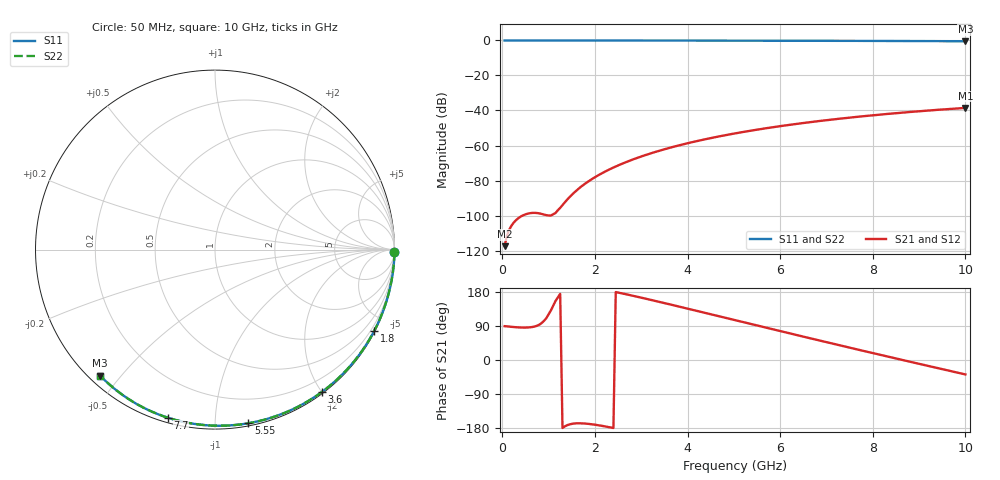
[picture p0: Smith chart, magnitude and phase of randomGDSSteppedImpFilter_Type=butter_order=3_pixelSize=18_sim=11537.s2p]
! freq	dB(S11)	phase(S11)	dB(S12)	phase(S12)
!  dB(S21)	phase(S21)	dB(S22)	phase(S22)
!S-par simulation data
#  GHz  S  DB  R 50
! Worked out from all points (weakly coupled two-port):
!   200 points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, 50 MHz to 10 GHz, reference 50 ohm
!   highest |S21| = -38.52 dB at 10 GHz (marker M1); lowest = -117.5 dB at 50 MHz (marker M2)
!   lowest |S11| = -0.4 dB at 10 GHz (marker M3), VSWR 38.88, Z = 1.54 - j22.1 ohm
!   |S11| at or under -10 dB: nowhere
!   |S22| runs from -0.4 to 0.0 dB; largest |S21 - S12| = 0
!   S11 on the Smith chart (normalised r, x): 50 MHz: open; 1.8 GHz: 0.04, -4.15; 3.6 GHz: 0.02, -2.01; 5.55 GHz: 0.02, -1.21; 7.7 GHz: 0.02, -0.76; 10 GHz: 0.03, -0.44
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0.05  -0.00 -0.8  -117.48 89.3  -117.48 89.3  -0.00 -0.8
0.45  -0.01 -6.9  -99.85 85.5  -99.85 85.5  -0.01 -6.9
0.9  -0.02 -13.7  -99.44 103.3  -99.44 103.3  -0.02 -13.7
1.75  -0.03 -26.4  -82.53 -167.4  -82.53 -167.4  -0.03 -26.4
1.8  -0.03 -27.1  -81.56 -167.8  -81.56 -167.8  -0.03 -27.1
1.9  -0.04 -28.6  -79.77 -169.1  -79.77 -169.1  -0.04 -28.6
2.05  -0.04 -30.8  -77.33 -171.7  -77.33 -171.7  -0.04 -30.8
2.25  -0.04 -33.7  -74.48 -175.9  -74.48 -175.9  -0.04 -33.7
2.45  -0.05 -36.6  -71.96 179.3  -71.96 179.3  -0.05 -36.6
2.65  -0.05 -39.5  -69.71 174.1  -69.71 174.1  -0.05 -39.5
3  -0.06 -44.5  -66.27 164.5  -66.27 164.5  -0.06 -44.5
3.4  -0.07 -50.2  -62.91 153.1  -62.91 153.1  -0.07 -50.2
3.6  -0.07 -53.0  -61.41 147.3  -61.41 147.3  -0.07 -53.0
4.3  -0.09 -62.6  -56.89 126.7  -56.89 126.7  -0.09 -62.6
5.05  -0.11 -72.6  -52.96 104.5  -52.96 104.5  -0.11 -72.6
5.55  -0.13 -79.1  -50.73 89.6  -50.73 89.6  -0.13 -79.1
6.1  -0.15 -86.1  -48.57 73.4  -48.57 73.4  -0.15 -86.1
6.7  -0.18 -93.6  -46.48 55.8  -46.48 55.8  -0.18 -93.6
7.7  -0.24 -105.7  -43.52 26.8  -43.52 26.8  -0.24 -105.7
8.35  -0.29 -113.3  -41.88 8.3  -41.88 8.3  -0.29 -113.3
9.15  -0.36 -122.6  -40.12 -14.3  -40.12 -14.3  -0.36 -122.6
10  -0.45 -132.3  -38.52 -38.1  -38.52 -38.1  -0.45 -132.3
